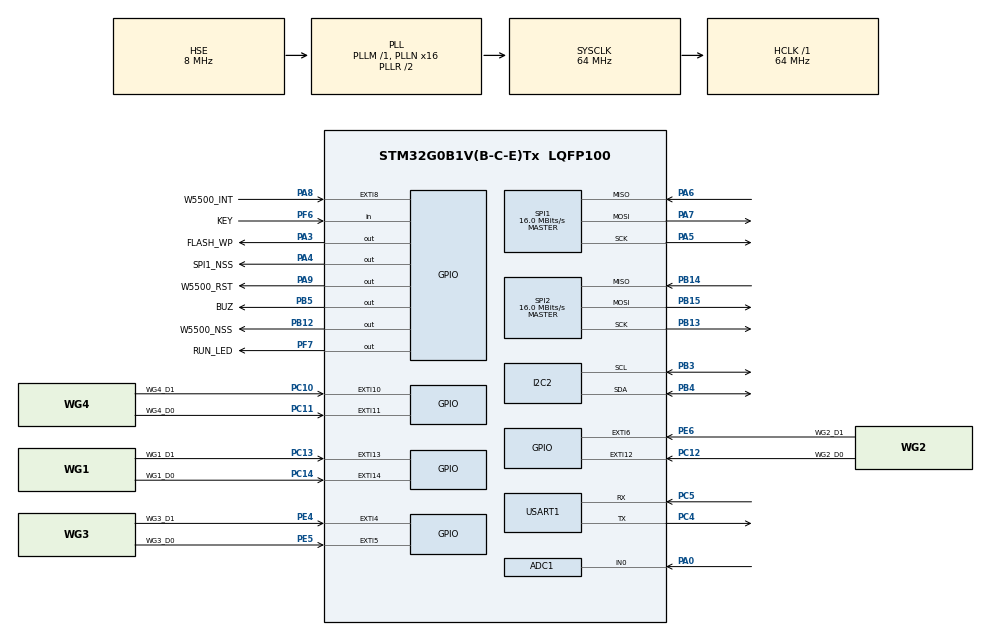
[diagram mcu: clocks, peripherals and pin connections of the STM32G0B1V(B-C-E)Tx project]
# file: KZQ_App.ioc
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ADC1.Channel-0\#ChannelRegularConversion=ADC_CHANNEL_0
ADC1.ClockPrescaler=ADC_CLOCK_ASYNC_DIV1
ADC1.NbrOfConversion=1
ADC1.NbrOfConversionFlag=1
ADC1.Rank-0\#ChannelRegularConversion=1
ADC1.SamplingTime-0\#ChannelRegularConversion=ADC_SAMPLINGTIME_COMMON_1
ADC1.SamplingTimeCommon1=ADC_SAMPLETIME_19CYCLES_5
ADC1.SelectedChannel=ADC_CHANNEL_0
ADC1.master=1
Dma.Request0=USART1_RX
Dma.Request1=USART1_TX
Dma.USART1_RX.0.Direction=DMA_PERIPH_TO_MEMORY
Dma.USART1_RX.0.EventEnable=DISABLE
Dma.USART1_RX.0.Instance=DMA1_Channel1
Dma.USART1_RX.0.MemDataAlignment=DMA_MDATAALIGN_BYTE
Dma.USART1_RX.0.MemInc=DMA_MINC_ENABLE
Dma.USART1_RX.0.Mode=DMA_NORMAL
Dma.USART1_RX.0.PeriphDataAlignment=DMA_PDATAALIGN_BYTE
Dma.USART1_RX.0.PeriphInc=DMA_PINC_DISABLE
Dma.USART1_RX.0.Polarity=HAL_DMAMUX_REQ_GEN_RISING
Dma.USART1_RX.0.Priority=DMA_PRIORITY_LOW
Dma.USART1_RX.0.RequestNumber=1
Dma.USART1_RX.0.SignalID=NONE
Dma.USART1_RX.0.SyncEnable=DISABLE
Dma.USART1_RX.0.SyncPolarity=HAL_DMAMUX_SYNC_NO_EVENT
Dma.USART1_RX.0.SyncRequestNumber=1
Dma.USART1_RX.0.SyncSignalID=NONE
Dma.USART1_TX.1.Direction=DMA_MEMORY_TO_PERIPH
Dma.USART1_TX.1.EventEnable=DISABLE
Dma.USART1_TX.1.Instance=DMA1_Channel2
Dma.USART1_TX.1.MemDataAlignment=DMA_MDATAALIGN_BYTE
Dma.USART1_TX.1.MemInc=DMA_MINC_ENABLE
Dma.USART1_TX.1.Mode=DMA_NORMAL
Dma.USART1_TX.1.PeriphDataAlignment=DMA_PDATAALIGN_BYTE
Dma.USART1_TX.1.PeriphInc=DMA_PINC_DISABLE
Dma.USART1_TX.1.Polarity=HAL_DMAMUX_REQ_GEN_RISING
Dma.USART1_TX.1.Priority=DMA_PRIORITY_LOW
Dma.USART1_TX.1.RequestNumber=1
Dma.USART1_TX.1.SignalID=NONE
Dma.USART1_TX.1.SyncEnable=DISABLE
Dma.USART1_TX.1.SyncPolarity=HAL_DMAMUX_SYNC_NO_EVENT
Dma.USART1_TX.1.SyncRequestNumber=1
Dma.USART1_TX.1.SyncSignalID=NONE
I2C2.Timing=0x10B17DB5
Mcu.Family=STM32G0
Mcu.Name=STM32G0B1V(B-C-E)Tx
Mcu.Package=LQFP100
NVIC.DMA1_Channel1_IRQn=true\:0\:0\:false\:false\:true\:false\:true\:true
NVIC.DMA1_Channel2_3_IRQn=true\:0\:0\:false\:false\:true\:false\:true\:true
NVIC.EXTI4_15_IRQn=true\:0\:0\:false\:false\:true\:true\:true\:true
NVIC.TIM6_DAC_LPTIM1_IRQn=true\:0\:0\:false\:false\:true\:true\:true\:true
NVIC.USART1_IRQn=true\:0\:0\:false\:false\:true\:true\:true\:true
PA0.Mode=IN0
PA0.Signal=ADC1_IN0
PA13.Mode=Serial_Wire
PA13.Signal=SYS_SWDIO
PA14-BOOT0.Mode=Serial_Wire
PA14-BOOT0.Signal=SYS_SWCLK
PA3.GPIO_Label=FLASH_WP
PA3.Signal=GPIO_Output
PA4.GPIO_Label=SPI1_NSS
PA4.Signal=GPIO_Output
PA5.Mode=Full_Duplex_Master
PA5.Signal=SPI1_SCK
PA6.Mode=Full_Duplex_Master
PA6.Signal=SPI1_MISO
PA7.Mode=Full_Duplex_Master
PA7.Signal=SPI1_MOSI
PA8.GPIO_Label=W5500_INT
PA8.GPIO_ModeDefaultEXTI=GPIO_MODE_IT_FALLING
PA8.GPIO_PuPd=GPIO_PULLUP
PA8.Signal=GPXTI8
PA9.GPIO_Label=W5500_RST
PA9.Signal=GPIO_Output
PB12.GPIO_Label=W5500_NSS
PB12.PinState=GPIO_PIN_SET
PB12.Signal=GPIO_Output
PB13.Mode=Full_Duplex_Master
PB13.Signal=SPI2_SCK
PB14.Mode=Full_Duplex_Master
PB14.Signal=SPI2_MISO
PB15.Mode=Full_Duplex_Master
PB15.Signal=SPI2_MOSI
PB3.Mode=I2C
PB3.Signal=I2C2_SCL
PB4.Mode=I2C
PB4.Signal=I2C2_SDA
PB5.GPIO_Label=BUZ
PB5.Signal=GPIO_Output
PC10.GPIO_Label=WG4_D1
PC10.GPIO_ModeDefaultEXTI=GPIO_MODE_IT_FALLING
PC10.GPIO_PuPd=GPIO_PULLUP
PC10.Signal=GPXTI10
PC11.GPIO_Label=WG4_D0
PC11.GPIO_ModeDefaultEXTI=GPIO_MODE_IT_FALLING
PC11.GPIO_PuPd=GPIO_PULLUP
PC11.Signal=GPXTI11
PC12.GPIO_Label=WG2_D0
PC12.GPIO_ModeDefaultEXTI=GPIO_MODE_IT_FALLING
PC12.GPIO_PuPd=GPIO_PULLUP
PC12.Signal=GPXTI12
PC13.GPIO_Label=WG1_D1
PC13.GPIO_ModeDefaultEXTI=GPIO_MODE_IT_FALLING
PC13.GPIO_PuPd=GPIO_PULLUP
PC13.Signal=GPXTI13
PC14-OSC32_IN\ (PC14).GPIO_Label=WG1_D0
PC14-OSC32_IN\ (PC14).GPIO_ModeDefaultEXTI=GPIO_MODE_IT_FALLING
PC14-OSC32_IN\ (PC14).GPIO_PuPd=GPIO_PULLUP
PC14-OSC32_IN\ (PC14).Signal=GPXTI14
PC4.Mode=Asynchronous
PC4.Signal=USART1_TX
PC5.Mode=Asynchronous
PC5.Signal=USART1_RX
PE4.GPIO_Label=WG3_D1
PE4.GPIO_ModeDefaultEXTI=GPIO_MODE_IT_FALLING
PE4.GPIO_PuPd=GPIO_PULLUP
PE4.Signal=GPXTI4
PE5.GPIO_Label=WG3_D0
PE5.GPIO_ModeDefaultEXTI=GPIO_MODE_IT_FALLING
PE5.GPIO_PuPd=GPIO_PULLUP
PE5.Signal=GPXTI5
PE6.GPIO_Label=WG2_D1
PE6.GPIO_ModeDefaultEXTI=GPIO_MODE_IT_FALLING
PE6.GPIO_PuPd=GPIO_PULLUP
PE6.Signal=GPXTI6
PF0-OSC_IN\ (PF0).Mode=HSE-External-Oscillator
PF0-OSC_IN\ (PF0).Signal=RCC_OSC_IN
PF1-OSC_OUT\ (PF1).Mode=HSE-External-Oscillator
PF1-OSC_OUT\ (PF1).Signal=RCC_OSC_OUT
PF6.GPIO_Label=KEY
PF6.GPIO_PuPd=GPIO_PULLUP
PF6.Signal=GPIO_Input
PF7.GPIO_Label=RUN_LED
PF7.Signal=GPIO_Output
ProjectManager.HeapSize=0x200
ProjectManager.StackSize=0x400
ProjectManager.TargetToolchain=STM32CubeIDE
RCC.ADCFreq_Value=64000000
RCC.AHBFreq_Value=64000000
RCC.CortexFreq_Value=64000000
RCC.EXTERNAL_CLOCK_VALUE=48000
RCC.HCLKFreq_Value=64000000
RCC.HSE_VALUE=8000000
RCC.HSI48_VALUE=48000000
RCC.HSI_VALUE=16000000
RCC.LSE_VALUE=32768
RCC.PLLN=16
RCC.PLLSourceVirtual=RCC_PLLSOURCE_HSE
RCC.SYSCLKFreq_VALUE=64000000
RCC.SYSCLKSource=RCC_SYSCLKSOURCE_PLLCLK
RCC.USBFreq_Value=48000000
RCC.VCOOutputFreq_Value=128000000
SPI1.BaudRatePrescaler=SPI_BAUDRATEPRESCALER_4
SPI1.CLKPhase=SPI_PHASE_2EDGE
SPI1.CLKPolarity=SPI_POLARITY_HIGH
SPI1.CalculateBaudRate=16.0 MBits/s
SPI1.DataSize=SPI_DATASIZE_8BIT
SPI1.Direction=SPI_DIRECTION_2LINES
SPI1.Mode=SPI_MODE_MASTER
SPI1.VirtualType=VM_MASTER
SPI2.BaudRatePrescaler=SPI_BAUDRATEPRESCALER_4
SPI2.CalculateBaudRate=16.0 MBits/s
SPI2.DataSize=SPI_DATASIZE_8BIT
SPI2.Direction=SPI_DIRECTION_2LINES
SPI2.Mode=SPI_MODE_MASTER
SPI2.VirtualType=VM_MASTER
TIM2.AutoReloadPreload=TIM_AUTORELOAD_PRELOAD_ENABLE
TIM2.Period=4294967295
TIM2.Prescaler=64-1
TIM6.Period=1000-1
TIM6.Prescaler=64-1
USART1.VirtualMode-Asynchronous=VM_ASYNC
VP_IWDG_VS_IWDG.Mode=IWDG_Activate
VP_SYS_VS_DBSignals.Mode=DisableDeadBatterySignals
VP_TIM2_VS_ClockSourceINT.Mode=Internal
VP_TIM6_VS_ClockSourceINT.Mode=Enable_Timer
board=custom

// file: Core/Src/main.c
/* USER CODE BEGIN Header */
/**
  ******************************************************************************
  * @file           : main.c
  * @brief          : Main program body
  ******************************************************************************
  * @attention
  *
  * Copyright (c) 2026 STMicroelectronics.
  * All rights reserved.
  *
  * This software is licensed under terms that can be found in the LICENSE file
  * in the root directory of this software component.
  * If no LICENSE file comes with this software, it is provided AS-IS.
  *
  ******************************************************************************
  */
/* USER CODE END Header */
#include "main.h"

/* USER CODE BEGIN Includes */
#include "user.h"
#include "user_index.h"
#include "wiegand.h"
#include "net_services.h"
/* USER CODE END Includes */

ADC_HandleTypeDef hadc1;

I2C_HandleTypeDef hi2c2;

IWDG_HandleTypeDef hiwdg;

SPI_HandleTypeDef hspi1;
SPI_HandleTypeDef hspi2;

TIM_HandleTypeDef htim2;
TIM_HandleTypeDef htim6;

UART_HandleTypeDef huart1;
DMA_HandleTypeDef hdma_usart1_rx;
DMA_HandleTypeDef hdma_usart1_tx;

void SystemClock_Config(void);
static void MX_GPIO_Init(void);
static void MX_DMA_Init(void);
static void MX_IWDG_Init(void);
static void MX_TIM6_Init(void);
static void MX_USART1_UART_Init(void);
static void MX_SPI1_Init(void);
static void MX_TIM2_Init(void);
static void MX_SPI2_Init(void);
static void MX_I2C2_Init(void);
static void MX_ADC1_Init(void);

int main(void)
{

  /* USER CODE BEGIN 1 */
  SCB->VTOR = FLASH_BASE | 0x8000;
  /* USER CODE END 1 */

  /* MCU Configuration--------------------------------------------------------*/

  /* Reset of all peripherals, Initializes the Flash interface and the Systick. */
  HAL_Init();

  /* Configure the system clock */
  SystemClock_Config();

  /* Initialize all configured peripherals */
  MX_GPIO_Init();
  MX_DMA_Init();
  MX_IWDG_Init();
  MX_TIM6_Init();
  MX_USART1_UART_Init();
  MX_SPI1_Init();
  MX_TIM2_Init();
  MX_SPI2_Init();
  MX_I2C2_Init();
  MX_ADC1_Init();
  /* USER CODE BEGIN 2 */
  __enable_irq();

  printf("\r\n---------------- STM32G0 KZQ_APP RUN ---------------------\r\n");
  HAL_GPIO_WritePin(BUZ_GPIO_Port, BUZ_Pin, GPIO_PIN_SET);
  HAL_Delay(20);
  HAL_GPIO_WritePin(BUZ_GPIO_Port, BUZ_Pin, GPIO_PIN_RESET);
  read_system_parameters();
  if (!UserIndex_Init()) {
      UserIndex_RebuildStart();
  } else {
      // 索引加载成功，验证索引数据
      UserIndex_VerifyIndex();
  }

  /* USER CODE END 2 */

  /* Infinite loop */
  while (1)
  {

    /* USER CODE BEGIN 3 */
    if(HAL_GPIO_ReadPin(KEY_GPIO_Port,KEY_Pin) == GPIO_PIN_RESET)
	{
		while(HAL_GPIO_ReadPin(KEY_GPIO_Port,KEY_Pin) == GPIO_PIN_RESET);
		NVIC_SystemReset();
	}
    readwiegand(); // 4路韦根解析
    network_process();      // 网络状态机
    UserIndex_Process();    // 后台增量重建/合并索引
	HAL_IWDG_Refresh(&hiwdg);
  }
  /* USER CODE END 3 */
}

void SystemClock_Config(void)
{
  RCC_OscInitTypeDef RCC_OscInitStruct = {0};
  RCC_ClkInitTypeDef RCC_ClkInitStruct = {0};

  /** Configure the main internal regulator output voltage
  */
  HAL_PWREx_ControlVoltageScaling(PWR_REGULATOR_VOLTAGE_SCALE1);

  /** Initializes the RCC Oscillators according to the specified parameters
  * in the RCC_OscInitTypeDef structure.
  */
  RCC_OscInitStruct.OscillatorType = RCC_OSCILLATORTYPE_LSI|RCC_OSCILLATORTYPE_HSE;
  RCC_OscInitStruct.HSEState = RCC_HSE_ON;
  RCC_OscInitStruct.LSIState = RCC_LSI_ON;
  RCC_OscInitStruct.PLL.PLLState = RCC_PLL_ON;
  RCC_OscInitStruct.PLL.PLLSource = RCC_PLLSOURCE_HSE;
  RCC_OscInitStruct.PLL.PLLM = RCC_PLLM_DIV1;
  RCC_OscInitStruct.PLL.PLLN = 16;
  RCC_OscInitStruct.PLL.PLLP = RCC_PLLP_DIV2;
  RCC_OscInitStruct.PLL.PLLQ = RCC_PLLQ_DIV2;
  RCC_OscInitStruct.PLL.PLLR = RCC_PLLR_DIV2;
  if (HAL_RCC_OscConfig(&RCC_OscInitStruct) != HAL_OK)
  {
    Error_Handler();
  }

  /** Initializes the CPU, AHB and APB buses clocks
  */
  RCC_ClkInitStruct.ClockType = RCC_CLOCKTYPE_HCLK|RCC_CLOCKTYPE_SYSCLK
                              |RCC_CLOCKTYPE_PCLK1;
  RCC_ClkInitStruct.SYSCLKSource = RCC_SYSCLKSOURCE_PLLCLK;
  RCC_ClkInitStruct.AHBCLKDivider = RCC_SYSCLK_DIV1;
  RCC_ClkInitStruct.APB1CLKDivider = RCC_HCLK_DIV1;

  if (HAL_RCC_ClockConfig(&RCC_ClkInitStruct, FLASH_LATENCY_2) != HAL_OK)
  {
    Error_Handler();
  }
}

static void MX_ADC1_Init(void)
{

  ADC_ChannelConfTypeDef sConfig = {0};

  /** Configure the global features of the ADC (Clock, Resolution, Data Alignment and number of conversion)
  */
  hadc1.Instance = ADC1;
  hadc1.Init.ClockPrescaler = ADC_CLOCK_ASYNC_DIV1;
  hadc1.Init.Resolution = ADC_RESOLUTION_12B;
  hadc1.Init.DataAlign = ADC_DATAALIGN_RIGHT;
  hadc1.Init.ScanConvMode = ADC_SCAN_DISABLE;
  hadc1.Init.EOCSelection = ADC_EOC_SINGLE_CONV;
  hadc1.Init.LowPowerAutoWait = DISABLE;
  hadc1.Init.LowPowerAutoPowerOff = DISABLE;
  hadc1.Init.ContinuousConvMode = DISABLE;
  hadc1.Init.NbrOfConversion = 1;
  hadc1.Init.DiscontinuousConvMode = DISABLE;
  hadc1.Init.ExternalTrigConv = ADC_SOFTWARE_START;
  hadc1.Init.ExternalTrigConvEdge = ADC_EXTERNALTRIGCONVEDGE_NONE;
  hadc1.Init.DMAContinuousRequests = DISABLE;
  hadc1.Init.Overrun = ADC_OVR_DATA_PRESERVED;
  hadc1.Init.SamplingTimeCommon1 = ADC_SAMPLETIME_19CYCLES_5;
  hadc1.Init.SamplingTimeCommon2 = ADC_SAMPLETIME_1CYCLE_5;
  hadc1.Init.OversamplingMode = DISABLE;
  hadc1.Init.TriggerFrequencyMode = ADC_TRIGGER_FREQ_HIGH;
  if (HAL_ADC_Init(&hadc1) != HAL_OK)
  {
    Error_Handler();
  }

  /** Configure Regular Channel
  */
  sConfig.Channel = ADC_CHANNEL_0;
  sConfig.Rank = ADC_REGULAR_RANK_1;
  sConfig.SamplingTime = ADC_SAMPLINGTIME_COMMON_1;
  if (HAL_ADC_ConfigChannel(&hadc1, &sConfig) != HAL_OK)
  {
    Error_Handler();
  }
  /* USER CODE BEGIN ADC1_Init 2 */
  if (HAL_ADCEx_Calibration_Start(&hadc1) != HAL_OK)
  {
	Error_Handler();
  }
  /* USER CODE END ADC1_Init 2 */

}

static void MX_I2C2_Init(void)
{

  hi2c2.Instance = I2C2;
  hi2c2.Init.Timing = 0x10B17DB5;
  hi2c2.Init.OwnAddress1 = 0;
  hi2c2.Init.AddressingMode = I2C_ADDRESSINGMODE_7BIT;
  hi2c2.Init.DualAddressMode = I2C_DUALADDRESS_DISABLE;
  hi2c2.Init.OwnAddress2 = 0;
  hi2c2.Init.OwnAddress2Masks = I2C_OA2_NOMASK;
  hi2c2.Init.GeneralCallMode = I2C_GENERALCALL_DISABLE;
  hi2c2.Init.NoStretchMode = I2C_NOSTRETCH_DISABLE;
  if (HAL_I2C_Init(&hi2c2) != HAL_OK)
  {
    Error_Handler();
  }

  /** Configure Analogue filter
  */
  if (HAL_I2CEx_ConfigAnalogFilter(&hi2c2, I2C_ANALOGFILTER_ENABLE) != HAL_OK)
  {
    Error_Handler();
  }

  /** Configure Digital filter
  */
  if (HAL_I2CEx_ConfigDigitalFilter(&hi2c2, 0) != HAL_OK)
  {
    Error_Handler();
  }

}

static void MX_IWDG_Init(void)
{

  hiwdg.Instance = IWDG;
  hiwdg.Init.Prescaler = IWDG_PRESCALER_4;
  hiwdg.Init.Window = 4095;
  hiwdg.Init.Reload = 4095;
  if (HAL_IWDG_Init(&hiwdg) != HAL_OK)
  {
    Error_Handler();
  }

}

static void MX_SPI1_Init(void)
{

  /* SPI1 parameter configuration*/
  hspi1.Instance = SPI1;
  hspi1.Init.Mode = SPI_MODE_MASTER;
  hspi1.Init.Direction = SPI_DIRECTION_2LINES;
  hspi1.Init.DataSize = SPI_DATASIZE_8BIT;
  hspi1.Init.CLKPolarity = SPI_POLARITY_HIGH;
  hspi1.Init.CLKPhase = SPI_PHASE_2EDGE;
  hspi1.Init.NSS = SPI_NSS_SOFT;
  hspi1.Init.BaudRatePrescaler = SPI_BAUDRATEPRESCALER_4;
  hspi1.Init.FirstBit = SPI_FIRSTBIT_MSB;
  hspi1.Init.TIMode = SPI_TIMODE_DISABLE;
  hspi1.Init.CRCCalculation = SPI_CRCCALCULATION_DISABLE;
  hspi1.Init.CRCPolynomial = 7;
  hspi1.Init.CRCLength = SPI_CRC_LENGTH_DATASIZE;
  hspi1.Init.NSSPMode = SPI_NSS_PULSE_DISABLE;
  if (HAL_SPI_Init(&hspi1) != HAL_OK)
  {
    Error_Handler();
  }

}

static void MX_SPI2_Init(void)
{

  /* SPI2 parameter configuration*/
  hspi2.Instance = SPI2;
  hspi2.Init.Mode = SPI_MODE_MASTER;
  hspi2.Init.Direction = SPI_DIRECTION_2LINES;
  hspi2.Init.DataSize = SPI_DATASIZE_8BIT;
  hspi2.Init.CLKPolarity = SPI_POLARITY_LOW;
  hspi2.Init.CLKPhase = SPI_PHASE_1EDGE;
  hspi2.Init.NSS = SPI_NSS_SOFT;
  hspi2.Init.BaudRatePrescaler = SPI_BAUDRATEPRESCALER_4;
  hspi2.Init.FirstBit = SPI_FIRSTBIT_MSB;
  hspi2.Init.TIMode = SPI_TIMODE_DISABLE;
  hspi2.Init.CRCCalculation = SPI_CRCCALCULATION_DISABLE;
  hspi2.Init.CRCPolynomial = 7;
  hspi2.Init.CRCLength = SPI_CRC_LENGTH_DATASIZE;
  hspi2.Init.NSSPMode = SPI_NSS_PULSE_ENABLE;
  if (HAL_SPI_Init(&hspi2) != HAL_OK)
  {
    Error_Handler();
  }

}

static void MX_TIM2_Init(void)
{

  TIM_ClockConfigTypeDef sClockSourceConfig = {0};
  TIM_MasterConfigTypeDef sMasterConfig = {0};

  htim2.Instance = TIM2;
  htim2.Init.Prescaler = 64-1;
  htim2.Init.CounterMode = TIM_COUNTERMODE_UP;
  htim2.Init.Period = 4294967295;
  htim2.Init.ClockDivision = TIM_CLOCKDIVISION_DIV1;
  htim2.Init.AutoReloadPreload = TIM_AUTORELOAD_PRELOAD_ENABLE;
  if (HAL_TIM_Base_Init(&htim2) != HAL_OK)
  {
    Error_Handler();
  }
  sClockSourceConfig.ClockSource = TIM_CLOCKSOURCE_INTERNAL;
  if (HAL_TIM_ConfigClockSource(&htim2, &sClockSourceConfig) != HAL_OK)
  {
    Error_Handler();
  }
  sMasterConfig.MasterOutputTrigger = TIM_TRGO_RESET;
  sMasterConfig.MasterSlaveMode = TIM_MASTERSLAVEMODE_DISABLE;
  if (HAL_TIMEx_MasterConfigSynchronization(&htim2, &sMasterConfig) != HAL_OK)
  {
    Error_Handler();
  }
  /* USER CODE BEGIN TIM2_Init 2 */
  HAL_TIM_Base_Start(&htim2);
  /* USER CODE END TIM2_Init 2 */

}

static void MX_TIM6_Init(void)
{

  TIM_MasterConfigTypeDef sMasterConfig = {0};

  htim6.Instance = TIM6;
  htim6.Init.Prescaler = 64-1;
  htim6.Init.CounterMode = TIM_COUNTERMODE_UP;
  htim6.Init.Period = 1000-1;
  htim6.Init.AutoReloadPreload = TIM_AUTORELOAD_PRELOAD_DISABLE;
  if (HAL_TIM_Base_Init(&htim6) != HAL_OK)
  {
    Error_Handler();
  }
  sMasterConfig.MasterOutputTrigger = TIM_TRGO_RESET;
  sMasterConfig.MasterSlaveMode = TIM_MASTERSLAVEMODE_DISABLE;
  if (HAL_TIMEx_MasterConfigSynchronization(&htim6, &sMasterConfig) != HAL_OK)
  {
    Error_Handler();
  }
  /* USER CODE BEGIN TIM6_Init 2 */
  HAL_TIM_Base_Start_IT(&htim6);
  /* USER CODE END TIM6_Init 2 */

}

static void MX_USART1_UART_Init(void)
{

  huart1.Instance = USART1;
  huart1.Init.BaudRate = 115200;
  huart1.Init.WordLength = UART_WORDLENGTH_8B;
  huart1.Init.StopBits = UART_STOPBITS_1;
  huart1.Init.Parity = UART_PARITY_NONE;
  huart1.Init.Mode = UART_MODE_TX_RX;
  huart1.Init.HwFlowCtl = UART_HWCONTROL_NONE;
  huart1.Init.OverSampling = UART_OVERSAMPLING_16;
  huart1.Init.OneBitSampling = UART_ONE_BIT_SAMPLE_DISABLE;
  huart1.Init.ClockPrescaler = UART_PRESCALER_DIV1;
  huart1.AdvancedInit.AdvFeatureInit = UART_ADVFEATURE_NO_INIT;
  if (HAL_UART_Init(&huart1) != HAL_OK)
  {
    Error_Handler();
  }
  if (HAL_UARTEx_SetTxFifoThreshold(&huart1, UART_TXFIFO_THRESHOLD_1_8) != HAL_OK)
  {
    Error_Handler();
  }
  if (HAL_UARTEx_SetRxFifoThreshold(&huart1, UART_RXFIFO_THRESHOLD_1_8) != HAL_OK)
  {
    Error_Handler();
  }
  if (HAL_UARTEx_DisableFifoMode(&huart1) != HAL_OK)
  {
    Error_Handler();
  }

}

static void MX_DMA_Init(void)
{

  /* DMA controller clock enable */
  __HAL_RCC_DMA1_CLK_ENABLE();

  /* DMA interrupt init */
  /* DMA1_Channel1_IRQn interrupt configuration */
  HAL_NVIC_SetPriority(DMA1_Channel1_IRQn, 0, 0);
  HAL_NVIC_EnableIRQ(DMA1_Channel1_IRQn);
  /* DMA1_Channel2_3_IRQn interrupt configuration */
  HAL_NVIC_SetPriority(DMA1_Channel2_3_IRQn, 0, 0);
  HAL_NVIC_EnableIRQ(DMA1_Channel2_3_IRQn);

}

static void MX_GPIO_Init(void)
{
  GPIO_InitTypeDef GPIO_InitStruct = {0};

  /* GPIO Ports Clock Enable */
  __HAL_RCC_GPIOC_CLK_ENABLE();
  __HAL_RCC_GPIOE_CLK_ENABLE();
  __HAL_RCC_GPIOF_CLK_ENABLE();
  __HAL_RCC_GPIOA_CLK_ENABLE();
  __HAL_RCC_GPIOB_CLK_ENABLE();

  /*Configure GPIO pin Output Level */
  HAL_GPIO_WritePin(GPIOA, FLASH_WP_Pin|SPI1_NSS_Pin|W5500_RST_Pin, GPIO_PIN_RESET);

  /*Configure GPIO pin Output Level */
  HAL_GPIO_WritePin(RUN_LED_GPIO_Port, RUN_LED_Pin, GPIO_PIN_RESET);

  /*Configure GPIO pin Output Level */
  HAL_GPIO_WritePin(W5500_NSS_GPIO_Port, W5500_NSS_Pin, GPIO_PIN_SET);

  /*Configure GPIO pin Output Level */
  HAL_GPIO_WritePin(BUZ_GPIO_Port, BUZ_Pin, GPIO_PIN_RESET);

  /*Configure GPIO pins : WG4_D1_Pin WG4_D0_Pin WG2_D0_Pin WG1_D1_Pin
                           WG1_D0_Pin */
  GPIO_InitStruct.Pin = WG4_D1_Pin|WG4_D0_Pin|WG2_D0_Pin|WG1_D1_Pin
                          |WG1_D0_Pin;
  GPIO_InitStruct.Mode = GPIO_MODE_IT_FALLING;
  GPIO_InitStruct.Pull = GPIO_PULLUP;
  HAL_GPIO_Init(GPIOC, &GPIO_InitStruct);

  /*Configure GPIO pins : WG3_D1_Pin WG3_D0_Pin WG2_D1_Pin */
  GPIO_InitStruct.Pin = WG3_D1_Pin|WG3_D0_Pin|WG2_D1_Pin;
  GPIO_InitStruct.Mode = GPIO_MODE_IT_FALLING;
  GPIO_InitStruct.Pull = GPIO_PULLUP;
  HAL_GPIO_Init(GPIOE, &GPIO_InitStruct);

  /*Configure GPIO pins : FLASH_WP_Pin SPI1_NSS_Pin W5500_RST_Pin */
  GPIO_InitStruct.Pin = FLASH_WP_Pin|SPI1_NSS_Pin|W5500_RST_Pin;
  GPIO_InitStruct.Mode = GPIO_MODE_OUTPUT_PP;
  GPIO_InitStruct.Pull = GPIO_NOPULL;
  GPIO_InitStruct.Speed = GPIO_SPEED_FREQ_LOW;
  HAL_GPIO_Init(GPIOA, &GPIO_InitStruct);

  /*Configure GPIO pin : KEY_Pin */
  GPIO_InitStruct.Pin = KEY_Pin;
  GPIO_InitStruct.Mode = GPIO_MODE_INPUT;
  GPIO_InitStruct.Pull = GPIO_PULLUP;
  HAL_GPIO_Init(KEY_GPIO_Port, &GPIO_InitStruct);

  /*Configure GPIO pin : RUN_LED_Pin */
  GPIO_InitStruct.Pin = RUN_LED_Pin;
  GPIO_InitStruct.Mode = GPIO_MODE_OUTPUT_PP;
  GPIO_InitStruct.Pull = GPIO_NOPULL;
  GPIO_InitStruct.Speed = GPIO_SPEED_FREQ_LOW;
  HAL_GPIO_Init(RUN_LED_GPIO_Port, &GPIO_InitStruct);

  /*Configure GPIO pins : W5500_NSS_Pin BUZ_Pin */
  GPIO_InitStruct.Pin = W5500_NSS_Pin|BUZ_Pin;
  GPIO_InitStruct.Mode = GPIO_MODE_OUTPUT_PP;
  GPIO_InitStruct.Pull = GPIO_NOPULL;
  GPIO_InitStruct.Speed = GPIO_SPEED_FREQ_LOW;
  HAL_GPIO_Init(GPIOB, &GPIO_InitStruct);

  /*Configure GPIO pin : W5500_INT_Pin */
  GPIO_InitStruct.Pin = W5500_INT_Pin;
  GPIO_InitStruct.Mode = GPIO_MODE_IT_FALLING;
  GPIO_InitStruct.Pull = GPIO_PULLUP;
  HAL_GPIO_Init(W5500_INT_GPIO_Port, &GPIO_InitStruct);

  /* EXTI interrupt init*/
  HAL_NVIC_SetPriority(EXTI4_15_IRQn, 0, 0);
  HAL_NVIC_EnableIRQ(EXTI4_15_IRQn);

}

void Error_Handler(void)
{
  __disable_irq();
  while (1)
  {
  }
}
